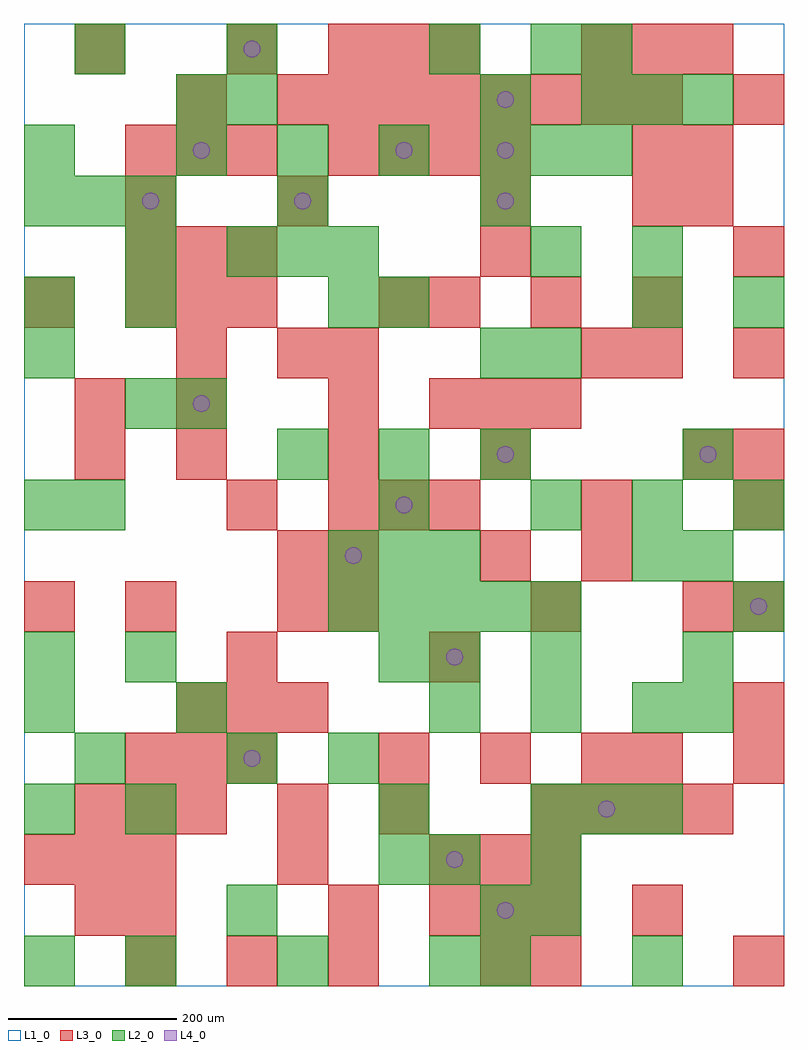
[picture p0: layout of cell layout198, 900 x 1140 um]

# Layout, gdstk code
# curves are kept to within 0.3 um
import gdstk
lib = gdstk.Library(unit=1e-6, precision=1e-09)
def R(c, l, rs):  # rectangles x0, y0, x1, y1
    for r in rs: c.add(gdstk.rectangle(r[:2], r[2:], *l))
def A(c, l, x, y, w, h, nx, ny, dx, dy):  # array of equal rectangles
    R(c, l, [(x+i*dx, y+j*dy, x+i*dx+w, y+j*dy+h) for i in range(nx) for j in range(ny)])
def P(c, l, *ps):  # polygons
    for p in ps: c.add(gdstk.Polygon(p, *l))
L1_0 = (1, 0)
L2_0 = (2, 0)
L3_0 = (3, 0)
L4_0 = (4, 0)

layout198 = lib.new_cell('layout198')
R(layout198, L1_0, [(0,0,900,1140)])
A(layout198, L2_0, 120, 0, 60, 60, 3, 1, 180, 0)
A(layout198, L2_0, 420, 180, 60, 60, 1, 3, 0, 180)
A(layout198, L2_0, 600, 180, 60, 60, 3, 1, 60, 0)
A(layout198, L2_0, 180, 300, 60, 60, 1, 3, 0, 360)
A(layout198, L2_0, 480, 300, 60, 60, 3, 1, 120, 0)
A(layout198, L2_0, 0, 360, 60, 60, 1, 3, 0, 180)
A(layout198, L2_0, 780, 360, 60, 60, 1, 3, 0, 120)
A(layout198, L2_0, 360, 420, 60, 60, 5, 1, 60, 0)
A(layout198, L2_0, 360, 480, 60, 60, 3, 1, 60, 0)
A(layout198, L2_0, 600, 540, 60, 60, 3, 1, 120, 0)
A(layout198, L2_0, 300, 600, 60, 60, 3, 1, 120, 0)
A(layout198, L2_0, 600, 720, 60, 60, 1, 4, 0, 120)
A(layout198, L2_0, 240, 840, 60, 60, 3, 1, 60, 0)
A(layout198, L2_0, 0, 900, 60, 60, 3, 1, 60, 0)
A(layout198, L2_0, 180, 960, 60, 60, 4, 1, 120, 0)
A(layout198, L2_0, 660, 1020, 60, 60, 3, 1, 60, 0)
R(layout198, L2_0, [(0,0,60,60), (540,0,600,60), (720,0,780,60), (240,60,300,120), (540,60,600,120), (600,60,660,120), (420,120,480,180), (480,120,540,180), (600,120,660,180), (0,180,60,240), (120,180,180,240), (60,240,120,300), (240,240,300,300), (360,240,420,300), (0,300,60,360), (780,300,840,360), (120,360,180,420), (480,360,540,420), (600,360,660,420), (840,420,900,480), (720,480,780,540), (60,540,120,600), (120,660,180,720), (540,720,600,780), (0,780,60,840), (120,780,180,840), (360,780,420,840), (420,780,480,840), (720,780,780,840), (840,780,900,840), (120,840,180,900), (720,840,780,900), (300,900,360,960), (540,900,600,960), (0,960,60,1020), (660,960,720,1020), (240,1020,300,1080), (540,1020,600,1080), (60,1080,120,1140), (240,1080,300,1140), (480,1080,540,1140), (660,1080,720,1140)])
A(layout198, L3_0, 120, 0, 60, 60, 3, 1, 120, 0)
A(layout198, L3_0, 480, 60, 60, 60, 3, 2, 60, 60)
A(layout198, L3_0, 0, 120, 60, 60, 3, 1, 60, 0)
A(layout198, L3_0, 60, 180, 60, 60, 3, 1, 60, 0)
A(layout198, L3_0, 600, 180, 60, 60, 4, 1, 60, 0)
A(layout198, L3_0, 120, 240, 60, 60, 3, 2, 60, 540)
A(layout198, L3_0, 420, 240, 60, 60, 3, 1, 120, 0)
A(layout198, L3_0, 180, 300, 60, 60, 3, 1, 60, 0)
A(layout198, L3_0, 840, 300, 60, 60, 1, 3, 0, 120)
A(layout198, L3_0, 360, 540, 60, 60, 3, 2, 60, 540)
A(layout198, L3_0, 180, 600, 60, 60, 3, 1, 180, 0)
A(layout198, L3_0, 840, 600, 60, 60, 1, 3, 0, 120)
A(layout198, L3_0, 480, 660, 60, 60, 3, 1, 60, 0)
A(layout198, L3_0, 480, 780, 60, 60, 3, 1, 120, 0)
A(layout198, L3_0, 120, 840, 60, 60, 3, 2, 60, 120)
A(layout198, L3_0, 360, 960, 60, 60, 4, 1, 60, 0)
A(layout198, L3_0, 300, 1020, 60, 60, 8, 1, 60, 0)
A(layout198, L3_0, 660, 1080, 60, 60, 3, 1, 60, 0)
R(layout198, L3_0, [(540,0,600,60), (600,0,660,60), (840,0,900,60), (60,60,120,120), (120,60,180,120), (360,60,420,120), (720,60,780,120), (300,120,360,180), (300,180,360,240), (420,180,480,240), (720,240,780,300), (840,240,900,300), (240,360,300,420), (480,360,540,420), (0,420,60,480), (120,420,180,480), (300,420,360,480), (360,420,420,480), (600,420,660,480), (780,420,840,480), (300,480,360,540), (360,480,420,540), (540,480,600,540), (660,480,720,540), (240,540,300,600), (660,540,720,600), (60,600,120,660), (780,600,840,660), (60,660,120,720), (180,660,240,720), (360,660,420,720), (180,720,240,780), (300,720,360,780), (360,720,420,780), (660,720,720,780), (720,720,780,780), (0,780,60,840), (420,780,480,840), (540,840,600,900), (120,900,180,960), (300,900,360,960), (540,900,600,960), (720,900,780,960), (780,900,840,960), (720,960,780,1020), (780,960,840,1020), (180,1020,240,1080), (840,1020,900,1080), (60,1080,120,1140), (240,1080,300,1140)])
P(layout198, L4_0, [(160,930),(159.239,933.827),(157.071,937.071),(153.827,939.239),(150,940),(146.173,939.239),(142.929,937.071),(140.761,933.827),(140,930),(140.761,926.173),(142.929,922.929),(146.173,920.761),(150,920),(153.827,920.761),(157.071,922.929),(159.239,926.173)],
  [(220,690),(219.239,693.827),(217.071,697.071),(213.827,699.239),(210,700),(206.173,699.239),(202.929,697.071),(200.761,693.827),(200,690),(200.761,686.173),(202.929,682.929),(206.173,680.761),(210,680),(213.827,680.761),(217.071,682.929),(219.239,686.173)],
  [(220,990),(219.239,993.827),(217.071,997.071),(213.827,999.239),(210,1000),(206.173,999.239),(202.929,997.071),(200.761,993.827),(200,990),(200.761,986.173),(202.929,982.929),(206.173,980.761),(210,980),(213.827,980.761),(217.071,982.929),(219.239,986.173)],
  [(280,270),(279.239,273.827),(277.071,277.071),(273.827,279.239),(270,280),(266.173,279.239),(262.929,277.071),(260.761,273.827),(260,270),(260.761,266.173),(262.929,262.929),(266.173,260.761),(270,260),(273.827,260.761),(277.071,262.929),(279.239,266.173)],
  [(280,1110),(279.239,1113.827),(277.071,1117.071),(273.827,1119.239),(270,1120),(266.173,1119.239),(262.929,1117.071),(260.761,1113.827),(260,1110),(260.761,1106.173),(262.929,1102.929),(266.173,1100.761),(270,1100),(273.827,1100.761),(277.071,1102.929),(279.239,1106.173)],
  [(340,930),(339.239,933.827),(337.071,937.071),(333.827,939.239),(330,940),(326.173,939.239),(322.929,937.071),(320.761,933.827),(320,930),(320.761,926.173),(322.929,922.929),(326.173,920.761),(330,920),(333.827,920.761),(337.071,922.929),(339.239,926.173)],
  [(400,510),(399.239,513.827),(397.071,517.071),(393.827,519.239),(390,520),(386.173,519.239),(382.929,517.071),(380.761,513.827),(380,510),(380.761,506.173),(382.929,502.929),(386.173,500.761),(390,500),(393.827,500.761),(397.071,502.929),(399.239,506.173)],
  [(460,570),(459.239,573.827),(457.071,577.071),(453.827,579.239),(450,580),(446.173,579.239),(442.929,577.071),(440.761,573.827),(440,570),(440.761,566.173),(442.929,562.929),(446.173,560.761),(450,560),(453.827,560.761),(457.071,562.929),(459.239,566.173)],
  [(460,990),(459.239,993.827),(457.071,997.071),(453.827,999.239),(450,1000),(446.173,999.239),(442.929,997.071),(440.761,993.827),(440,990),(440.761,986.173),(442.929,982.929),(446.173,980.761),(450,980),(453.827,980.761),(457.071,982.929),(459.239,986.173)],
  [(520,150),(519.239,153.827),(517.071,157.071),(513.827,159.239),(510,160),(506.173,159.239),(502.929,157.071),(500.761,153.827),(500,150),(500.761,146.173),(502.929,142.929),(506.173,140.761),(510,140),(513.827,140.761),(517.071,142.929),(519.239,146.173)],
  [(520,390),(519.239,393.827),(517.071,397.071),(513.827,399.239),(510,400),(506.173,399.239),(502.929,397.071),(500.761,393.827),(500,390),(500.761,386.173),(502.929,382.929),(506.173,380.761),(510,380),(513.827,380.761),(517.071,382.929),(519.239,386.173)],
  [(580,90),(579.239,93.827),(577.071,97.071),(573.827,99.239),(570,100),(566.173,99.239),(562.929,97.071),(560.761,93.827),(560,90),(560.761,86.173),(562.929,82.929),(566.173,80.761),(570,80),(573.827,80.761),(577.071,82.929),(579.239,86.173)],
  [(580,630),(579.239,633.827),(577.071,637.071),(573.827,639.239),(570,640),(566.173,639.239),(562.929,637.071),(560.761,633.827),(560,630),(560.761,626.173),(562.929,622.929),(566.173,620.761),(570,620),(573.827,620.761),(577.071,622.929),(579.239,626.173)],
  [(580,930),(579.239,933.827),(577.071,937.071),(573.827,939.239),(570,940),(566.173,939.239),(562.929,937.071),(560.761,933.827),(560,930),(560.761,926.173),(562.929,922.929),(566.173,920.761),(570,920),(573.827,920.761),(577.071,922.929),(579.239,926.173)],
  [(580,990),(579.239,993.827),(577.071,997.071),(573.827,999.239),(570,1000),(566.173,999.239),(562.929,997.071),(560.761,993.827),(560,990),(560.761,986.173),(562.929,982.929),(566.173,980.761),(570,980),(573.827,980.761),(577.071,982.929),(579.239,986.173)],
  [(580,1050),(579.239,1053.827),(577.071,1057.071),(573.827,1059.239),(570,1060),(566.173,1059.239),(562.929,1057.071),(560.761,1053.827),(560,1050),(560.761,1046.173),(562.929,1042.929),(566.173,1040.761),(570,1040),(573.827,1040.761),(577.071,1042.929),(579.239,1046.173)],
  [(700,210),(699.239,213.827),(697.071,217.071),(693.827,219.239),(690,220),(686.173,219.239),(682.929,217.071),(680.761,213.827),(680,210),(680.761,206.173),(682.929,202.929),(686.173,200.761),(690,200),(693.827,200.761),(697.071,202.929),(699.239,206.173)],
  [(820,630),(819.239,633.827),(817.071,637.071),(813.827,639.239),(810,640),(806.173,639.239),(802.929,637.071),(800.761,633.827),(800,630),(800.761,626.173),(802.929,622.929),(806.173,620.761),(810,620),(813.827,620.761),(817.071,622.929),(819.239,626.173)],
  [(880,450),(879.239,453.827),(877.071,457.071),(873.827,459.239),(870,460),(866.173,459.239),(862.929,457.071),(860.761,453.827),(860,450),(860.761,446.173),(862.929,442.929),(866.173,440.761),(870,440),(873.827,440.761),(877.071,442.929),(879.239,446.173)])

lib.write_gds('layout198.gds')
